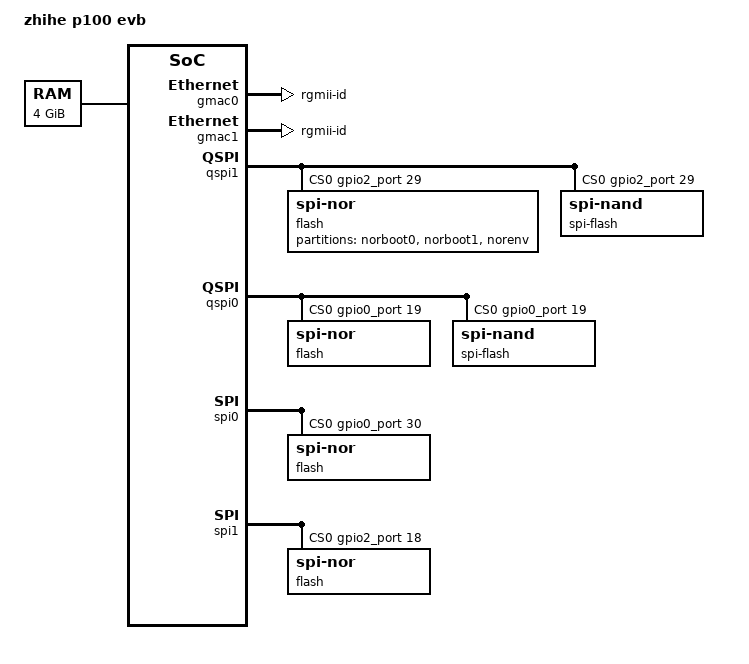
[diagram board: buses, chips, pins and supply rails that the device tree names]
// SPDX-License-Identifier: GPL-2.0+
/*
 * (C) Copyright 2024 Zhihe Computing Technology (Shenzhen) Co., Ltd.
 */

/dts-v1/;

#include "p100-soc.dtsi"

/ {
	model = "zhihe p100 evb";
	compatible = "zhihe,p100-soc", "zhihe, p100-evb";
	#address-cells = <2>;
	#size-cells = <2>;

	aliases {
		spi0 = &qspi0;
		spi1 = &qspi1;
		spi2 = &spi0;
		spi3 = &spi1;
	};

	chosen {
		bootargs = "console=ttyS4,115200";
		stdout-path = "/soc/serial@08401000:115200";
	};

	config {
		c908-pll-freq = <1896>;
		c908-ccu-div = <1>;
		c920-pll-freq = <2298>;
		c920-ccu-div = <1>;
		cpu-ccu-enable = <0>;
		ddr-ccu-enable = <0>;
		npu-ccu-enable = <0>;
		vi-ccu-enable = <0>;
		vo-ccu-enable = <0>;
		vp-ccu-enable = <0>;
		usb-ccu-enable = <0>;
		pcie-ccu-enable = <0>;
		d2d-ccu-enable = <0>;
		cpu-ppu-dyn = <0>;
		ddr-ppu-dyn = <0>;
	};

	memory@80000000  {
		device_type = "memory";
		reg = <0x00 0x80000000  0x01 0x00000000>; /* 2G */
	};

	cpus: cpus {
		timebase-frequency = <24000000>; /* 24M */
	};

	signature {
		bootph-pre-ram;
		key-dev {
			required = "conf";
			algo = "sha256,rsa2048";
			rsa,r-squared = <0x68bec3f3 0x3bf0d297 0xda573f3d 0x47584cd 0x3a7ed1fa 0xb2f1d671 0x2687be8b 0x996c2ed2 0xfd4fad48 0xaf9c8ab0 0xeeb29007 0xce91965a 0x22de784f 0x8d2aafb5 0x6dc93ee6 0x8e97c1cf 0xdb9af31e 0x55c43026 0x5091bc33 0x5ffa9c32 0x7d46caea 0x1adc3d68 0x9c18457b 0x591655cb 0x96ab0d46 0xd5ef1a3a 0xe3d43abe 0x4a0d964b 0x74881c5e 0x6c9084cf 0xe3b8907a 0xb279100d 0x8969e9d0 0x19bbabda 0xff4b87a5 0xdf994a44 0xe2aea8ab 0x4b56b4b2 0x6dcea2ae 0x33ae87b5 0x4c8dd7f7 0x73ea6081 0x549223be 0x8e7b63d 0xd2e877d5 0xd25af656 0x11d3220 0x4cf03f80 0xa946baa4 0x9ae7c7e9 0x43cb069c 0x27f0afaa 0xc2f7c9f6 0x981cb1a2 0x9d44467a 0x4d5cf5d0 0xfee90fe3 0x5b828c2b 0x3a9dcf53 0xba6956a1 0x5ad91895 0xce5c10f3 0x65036544 0x2e6b64ea>;
			rsa,modulus = <0xb03afddf 0xdec310d6 0xeeb2b63c 0xcf512229 0x6240d68f 0x4252201 0x51ab11cf 0xe904a64b 0x2acf8c95 0xb331ad03 0xcb73eba7 0x4c1e0754 0xe83a5944 0xa5628c98 0x223ea657 0xd535de34 0x318e8b29 0x249cdbcf 0x4469bb38 0xb609701e 0x1f63c622 0x45dc9de9 0xd8affeab 0x6da8361a 0x539c7f0e 0x361cda9f 0xfa877355 0xd2942090 0x75b567c5 0x45db0f86 0xd751153f 0x6c8128f 0x9a394dff 0xf7ac1ad4 0xe47e4033 0x57522063 0x4729ccb4 0x5097f575 0x5e026819 0xc6810b6e 0x69ab698f 0xae49d463 0x8cdc9c5b 0xa217b0d6 0x3e1cbbf5 0xb69bbfe8 0x4aca4f05 0x22dd1e3a 0x19d8142b 0x77b58bbb 0xd3e3dee2 0x409ecaa2 0x86ef3afa 0xdeb63d47 0x5cebb545 0x99c1db5c 0x6217c0a4 0x13f9950b 0xb61c8c00 0x82a527be 0x1328201a 0x9a08e9d1 0xdfded6c1 0xfa5e0d5b>;
			rsa,exponent = <0x00 0x10001>;
			rsa,n0-inverse = <0x8754a52d>;
			rsa,num-bits = <0x800>;
			key-name-hint = "dev";
			u-boot,dm-pre-reloc;
			bootph-pre-ram;
		};
	};

	cipher {
		bootph-pre-ram;
		key-aes256-aes_key-aes_iv {
			key = <0x00>;
			iv = <0x00>;
			bootph-pre-ram;
		};
		key-sm4-sm4_key-sm4_iv {
			key = <0x00>;
			iv = <0x00>;
			bootph-pre-ram;
		};
	};
};

&emmc {
	max-frequency = <196000000>;
};

&sdhci0 {
	max-frequency = <196000000>;
};

&gmac0 {
	phy-mode = "rgmii-id";
};

&gmac1 {
	phy-mode = "rgmii-id";
};

&qspi1 {
	num-cs = <1>;
	spi-swap-data = <1>;
	spi-max-frequency = <36000000>;
	cs-gpios = <&gpio2_port 29 0>;

	flash@1 {
		compatible = "jedec,spi-nor";
		#address-cells = <1>;
		#size-cells = <1>;
		reg = <0>;
		spi-tx-bus-width = <4>;
		spi-rx-bus-width = <4>;

		partitions {
			compatible = "fixed-partitions";
			#address-cells = <1>;
			#size-cells = <1>;
			partition@norboot0 {
				reg = <0x00000000 0x00100000>;
				label = "norboot0";
			};
			partition@norboot1 {
				reg = <0x00100000 0x00100000>;
				label = "norboot1";
			};
			partition@norenv {
				reg = <0x00200000 0x00040000>;
				label = "norenv";
			};
		};
	};

	spi-flash@1 {
		compatible = "spi-nand";
		#address-cells = <1>;
		#size-cells = <1>;
		reg = <0>;
		spi-tx-bus-width = <4>;
		spi-rx-bus-width = <4>;
	};
};

&qspi0 {
	num-cs = <1>;
	spi-max-frequency = <36000000>;
	cs-gpios = <&gpio0_port 19 0>;

	flash@0 {
		compatible = "jedec,spi-nor";
		#address-cells = <1>;
		#size-cells = <1>;
		reg = <0>;
		spi-tx-bus-width = <4>;
		spi-rx-bus-width = <4>;
	};

	spi-flash@0 {
		compatible = "spi-nand";
		#address-cells = <1>;
		#size-cells = <1>;
		reg = <0>;
		spi-tx-bus-width = <4>;
		spi-rx-bus-width = <4>;
	};
};

&spi0 {
	num-cs = <1>;
	spi-max-frequency = <42000000>;
	cs-gpios = <&gpio0_port 30 0>;

	flash@0 {
		compatible = "jedec,spi-nor";
		#address-cells = <1>;
		#size-cells = <1>;
		reg = <0>;
	};
};

&spi1 {
	num-cs = <1>;
	spi-max-frequency = <42000000>;
	cs-gpios = <&gpio2_port 18 0>;

	flash@0 {
		compatible = "jedec,spi-nor";
		#address-cells = <1>;
		#size-cells = <1>;
		reg = <0>;
	};
};

//////////////////////////////////////////////////////////////////////////////////////////////////////////////

/* FIXME: clk stages overlay to be selected for real SOC. */

/* bringup stage 3: full subsys + high freq */
/* refer to maximum clk freq in p100-soc-core.dtsi */

/* bringup stage 2: full subsys + medium freq*/
// / {
// 	config {
// 		c908-pll-freq = <1500>;
// 		c908-ccu-div = <1>;
// 		c920-pll-freq = <1500>;
// 		c920-ccu-div = <1>;
// 		cpu-ccu-enable = <0>;
// 		ddr-ccu-enable = <0>;
// 		npu-ccu-enable = <0>;
// 		vi-ccu-enable = <0>;
// 		vo-ccu-enable = <0>;
// 		vp-ccu-enable = <0>;
// 		usb-ccu-enable = <0>;
// 		pcie-ccu-enable = <0>;
// 		d2d-ccu-enable = <0>;
// 		cpu-ppu-dyn = <0>;
// 		ddr-ppu-dyn = <0>;
// 	};
// };

// &clk {
// 	assigned-clocks = <&clk TOP_CFG_ACLK_DIV>, <&clk TOP_PCLK_DIV>,
// 				<&clk AMUX_CLK_DIV>, <&clk IOMMU_PTW_ACLK_DIV>,
// 				<&clk NOC_CCLK_MUX>, <&clk NOC_CCLK_DIV>,
// 				<&clk TOP_CPUSYS_BUS_CLK_MUX>, <&clk TOP_CPUSYS_BUS_CLK_DIV>,
// 				<&clk TOP_CPUSYS_PIC_CLK_MUX>, <&clk TOP_CPUSYS_PIC_CLK_DIV>,
// 				<&clk TOP_PERI_EMMC_REF_CLK_MUX>, <&clk TOP_PERI_EMMC_REF_CLK_DIV>,
// 				<&clk TOP_PERI_MST_ACLK0_DIV>, <&clk TOP_PERI_MST_CLK1_DIV>,
// 				<&clk TOP_PERI_HIRES_CLK0_DIV>, <&clk TOP_PERI_HIRES_CLK1_DIV>,
// 				<&clk TOP_PERI_SPI_SSI_CLK0_DIV>, <&clk TOP_PERI_SPI_SSI_CLK1_DIV>,
// 				<&clk TOP_PERI_QSPI_SSI_CLK_MUX0>, <&clk TOP_PERI_QSPI_SSI_CLK_MUX1>,
// 				<&clk I2C_IC_CLK>, <&clk TOP_UART_SCLK_MUX>;
// 	assigned-clock-rates = <330000000>, /* top_cfg_aclk */
// 				<165000000>, /* top_pclk */
// 				<660000000>, /* top_amux_clk_div */
// 				<330000000>, /* iommu_ptw_aclk_div */
// 				<0>,         /* noc_cclk_mux */
// 				<880000000>, /* noc_cclk_div */
// 				<0>,         /* top_cpusys_bus_clk_mux */
// 				<1000000000>,/* top_cpusys_bus_clk */
// 				<0>,         /* top_cpusys_pic_clk_mux */
// 				<1000000000>,/* top_cpusys_pic_clk */
// 				<0>,         /* emmc_ref_clk_mux */
// 				<203076924>, /* emmc_ref_clk */
// 				<330000000>, /* peri1_mst_aclk */
// 				<220000000>, /* peri3_mst_aclk */
// 				<80000000>,  /* peri1_hires_clk */
// 				<80000000>,  /* peri2_hires_clk */
// 				<220000000>, /* peri1_spi_ssi_clk */
// 				<220000000>, /* peri2_spi_ssi_clk */
// 				<220000000>, /* peri1_qspi_ssi_clk */
// 				<220000000>, /* peri2_qspi_ssi_clk */
// 				<100000000>, /* i2c_ic_clk */
// 				<24000000>;  /* uart_sclk */
// 	assigned-clock-parents = <&clk VIDEO_PLL_FOUT1PH0>, <0>,
// 				<0>, <0>,
// 				<&clk VIDEO_PLL_FOUTVCO>, <0>,
// 				<&clk VIDEO_PLL_FOUTVCO>, <0>,
// 				<&clk GMAC_PLL_FOUTVCO>, <0>,
// 				<&clk VIDEO_PLL_FOUTVCO>, <&clk VIDEO_PLL_FOUTVCO>,
// 				<&clk VIDEO_PLL_FOUT1PH0>, <0>,
// 				<0>, <0>,
// 				<&clk AUDIO1_PLL_FOUTVCO>, <&clk AUDIO1_PLL_FOUTVCO>,
// 				<&clk TOP_PERI_QSPI0_SSI_CLK_DIV0>, <&clk TOP_PERI_QSPI1_SSI_CLK_DIV0>,
// 				<&clk GMAC_PLL_FOUTPOSTDIV>, <&clk AON_OSC_CLK_LOGIC>;
// };

/* bringup stage 1: minisys + low freq */
// / {
// 	config {
// 		c908-pll-freq = <1200>;
// 		c908-ccu-div = <4>;
// 		c920-pll-freq = <2040>;
// 		c920-ccu-div = <4>;
// 		cpu-ccu-enable = <0>;
// 		ddr-ccu-enable = <0>;
// 		npu-ccu-enable = <0>;
// 		vi-ccu-enable = <0>;
// 		vo-ccu-enable = <0>;
// 		vp-ccu-enable = <0>;
// 		usb-ccu-enable = <0>;
// 		pcie-ccu-enable = <0>;
// 		d2d-ccu-enable = <0>;
// 		cpu-ppu-dyn = <0>;
// 		ddr-ppu-dyn = <0>;
// 	};
// };

// &clk {
// 	assigned-clocks = <&clk TOP_CFG_ACLK_DIV>, <&clk TOP_PCLK_DIV>,
// 				<&clk AMUX_CLK_DIV>, <&clk IOMMU_PTW_ACLK_DIV>,
// 				<&clk NOC_CCLK_MUX>, <&clk NOC_CCLK_DIV>,
// 				<&clk TOP_CPUSYS_BUS_CLK_MUX>, <&clk TOP_CPUSYS_BUS_CLK_DIV>,
// 				<&clk TOP_CPUSYS_PIC_CLK_MUX>, <&clk TOP_CPUSYS_PIC_CLK_DIV>,
// 				<&clk TOP_PERI_EMMC_REF_CLK_MUX>, <&clk TOP_PERI_EMMC_REF_CLK_DIV>,
// 				<&clk TOP_PERI_MST_ACLK0_DIV>, <&clk TOP_PERI_MST_CLK1_DIV>,
// 				<&clk TOP_PERI_HIRES_CLK0_DIV>, <&clk TOP_PERI_HIRES_CLK1_DIV>,
// 				<&clk TOP_PERI_SPI_SSI_CLK0_DIV>, <&clk TOP_PERI_SPI_SSI_CLK1_DIV>,
// 				<&clk TOP_PERI_QSPI_SSI_CLK_MUX0>, <&clk TOP_PERI_QSPI_SSI_CLK_MUX1>,
// 				<&clk I2C_IC_CLK>, <&clk TOP_UART_SCLK_MUX>;
// 	assigned-clock-rates =  <165000000>, /* top_cfg_aclk */
// 				<82500000>,  /* top_pclk */
// 				<240000000>, /* top_amux_clk_div */
// 				<165000000>, /* iommu_ptw_aclk_div */
// 				<0>,         /* noc_cclk_mux */
// 				<240000000>, /* noc_cclk_div */
// 				<0>,         /* top_cpusys_bus_clk_mux */
// 				<220000000>, /* top_cpusys_bus_clk */
// 				<0>,         /* top_cpusys_pic_clk_mux */
// 				<250000000>, /* top_cpusys_pic_clk */
// 				<0>,         /* emmc_ref_clk_mux */
// 				<203076924>, /* emmc_ref_clk */
// 				<165000000>, /* peri1_mst_aclk */
// 				<220000000>, /* peri3_mst_aclk */
// 				<80000000>,  /* peri1_hires_clk */
// 				<80000000>,  /* peri2_hires_clk */
// 				<220000000>, /* peri1_spi_ssi_clk */
// 				<220000000>, /* peri2_spi_ssi_clk */
// 				<220000000>, /* peri1_qspi_ssi_clk */
// 				<220000000>, /* peri2_qspi_ssi_clk */
// 				<100000000>, /* i2c_ic_clk */
// 				<24000000>;  /* uart_sclk */
// 	assigned-clock-parents = <&clk VIDEO_PLL_FOUT1PH0>, <0>,
// 				<0>, <0>,
// 				<&clk VIDEO_PLL_FOUTVCO>, <0>,
// 				<&clk VIDEO_PLL_FOUTVCO>, <0>,
// 				<&clk GMAC_PLL_FOUTVCO>, <0>,
// 				<&clk VIDEO_PLL_FOUTVCO>, <&clk VIDEO_PLL_FOUTVCO>,
// 				<&clk VIDEO_PLL_FOUT1PH0>, <0>,
// 				<0>, <0>,
// 				<&clk AUDIO1_PLL_FOUTVCO>, <&clk AUDIO1_PLL_FOUTVCO>,
// 				<&clk TOP_PERI_QSPI0_SSI_CLK_DIV0>, <&clk TOP_PERI_QSPI1_SSI_CLK_DIV0>,
// 				<&clk GMAC_PLL_FOUTPOSTDIV>, <&clk AON_OSC_CLK_LOGIC>;
// };
